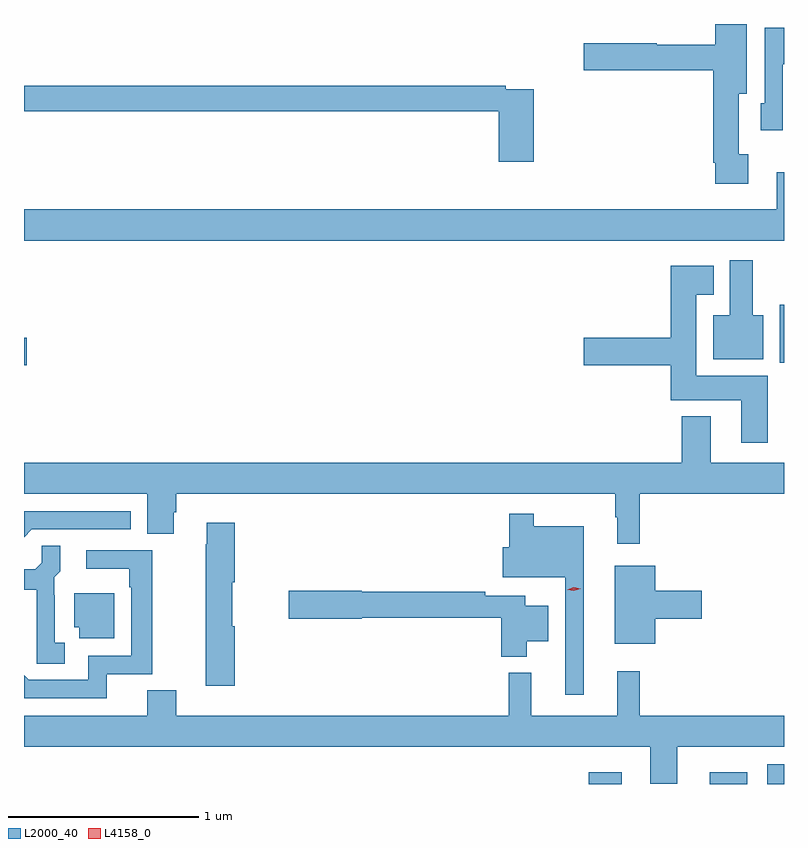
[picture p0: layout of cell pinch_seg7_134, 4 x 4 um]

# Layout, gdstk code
import gdstk
lib = gdstk.Library(unit=1e-6, precision=1e-09)
def R(c, l, rs):  # rectangles x0, y0, x1, y1
    for r in rs: c.add(gdstk.rectangle(r[:2], r[2:], *l))
def P(c, l, *ps):  # polygons
    for p in ps: c.add(gdstk.Polygon(p, *l))
L2000_40 = (2000, 40)
L4158_0 = (4158, 0)

pinch_seg7_134 = lib.new_cell('pinch_seg7_134')
R(pinch_seg7_134, L2000_40, [(1009.184,1037.716,1009.357,1037.779), (1009.821,1037.716,1010.017,1037.779), (1010.124,1037.716,1010.211,1037.82), (1006.211,1039.919,1006.225,1040.066), (1010.189,1039.934,1010.211,1040.239)])
P(pinch_seg7_134, L2000_40, [(1010.023,1041.03),(1009.972,1041.03),(1009.972,1041.35),(1010.014,1041.35),(1010.014,1041.716),(1009.85,1041.716),(1009.85,1041.607),(1009.542,1041.607),(1009.542,1041.615),(1009.158,1041.615),(1009.158,1041.473),(1009.838,1041.473),(1009.838,1040.986),(1009.85,1040.986),(1009.85,1040.874),(1010.023,1040.874)],
  [(1010.205,1041.503),(1010.211,1041.503),(1010.211,1041.696),(1010.109,1041.696),(1010.109,1041.3),(1010.088,1041.3),(1010.088,1041.156),(1010.205,1041.156)],
  [(1008.893,1041.372),(1008.746,1041.372),(1008.746,1041.392),(1006.211,1041.392),(1006.211,1041.256),(1008.71,1041.256),(1008.71,1040.991),(1008.893,1040.991)],
  [(1010.211,1040.935),(1010.174,1040.935),(1010.174,1040.74),(1006.211,1040.74),(1006.211,1040.576),(1010.211,1040.576)],
  [(1010.101,1040.182),(1010.047,1040.182),(1010.047,1040.473),(1009.925,1040.473),(1009.925,1040.182),(1009.838,1040.182),(1009.838,1039.952),(1010.101,1039.952)],
  [(1010.125,1039.864),(1009.75,1039.864),(1009.75,1040.291),(1009.84,1040.291),(1009.84,1040.443),(1009.616,1040.443),(1009.616,1040.066),(1009.158,1040.066),(1009.158,1039.919),(1009.616,1039.919),(1009.616,1039.736),(1009.985,1039.736),(1009.985,1039.512),(1010.125,1039.512)],
  [(1009.451,1039.244),(1010.211,1039.244),(1010.211,1039.408),(1009.825,1039.408),(1009.825,1039.651),(1009.673,1039.651),(1009.673,1039.408),(1006.211,1039.408),(1006.211,1039.244),(1006.859,1039.244),(1006.859,1039.032),(1006.999,1039.032),(1006.999,1039.146),(1007.012,1039.146),(1007.012,1039.244),(1009.323,1039.244),(1009.323,1039.121),(1009.334,1039.121),(1009.334,1038.981),(1009.451,1038.981)],
  [(1006.251,1039.056),(1006.774,1039.056),(1006.774,1039.152),(1006.212,1039.152),(1006.211,1039.151),(1006.211,1039.016)],
  [(1009.156,1039.072),(1008.895,1039.072),(1008.895,1039.138),(1008.766,1039.138),(1008.766,1038.961),(1008.732,1038.961),(1008.732,1038.803),(1009.059,1038.803),(1009.059,1038.186),(1009.156,1038.186)],
  [(1007.321,1038.546),(1007.308,1038.546),(1007.308,1038.777),(1007.321,1038.777),(1007.321,1039.09),(1007.174,1039.09),(1007.174,1038.977),(1007.167,1038.977),(1007.167,1038.234),(1007.321,1038.234)],
  [(1006.426,1038.459),(1006.374,1038.459),(1006.374,1038.71),(1006.371,1038.71),(1006.371,1038.803),(1006.403,1038.835),(1006.403,1038.971),(1006.305,1038.971),(1006.305,1038.88),(1006.271,1038.846),(1006.211,1038.846),(1006.211,1038.738),(1006.278,1038.738),(1006.278,1038.349),(1006.426,1038.349)],
  [(1006.646,1038.294),(1006.885,1038.294),(1006.885,1038.945),(1006.539,1038.945),(1006.539,1038.849),(1006.764,1038.849),(1006.764,1038.752),(1006.776,1038.752),(1006.776,1038.39),(1006.548,1038.39),(1006.548,1038.264),(1006.236,1038.264),(1006.211,1038.289),(1006.211,1038.168),(1006.646,1038.168)],
  [(1009.534,1038.587),(1009.777,1038.587),(1009.777,1038.734),(1009.534,1038.734),(1009.534,1038.865),(1009.319,1038.865),(1009.319,1038.455),(1009.534,1038.455)],
  [(1008.856,1038.467),(1008.97,1038.467),(1008.97,1038.655),(1008.85,1038.655),(1008.85,1038.708),(1008.638,1038.708),(1008.638,1038.728),(1007.988,1038.728),(1007.988,1038.734),(1007.604,1038.734),(1007.604,1038.587),(1007.988,1038.587),(1007.988,1038.592),(1008.722,1038.592),(1008.722,1038.386),(1008.856,1038.386)],
  [(1006.687,1038.721),(1006.475,1038.721),(1006.475,1038.54),(1006.503,1038.54),(1006.503,1038.483),(1006.687,1038.483)],
  [(1009.648,1037.912),(1010.211,1037.912),(1010.211,1038.076),(1009.451,1038.076),(1009.451,1038.31),(1009.334,1038.31),(1009.334,1038.076),(1008.881,1038.076),(1008.881,1038.301),(1008.763,1038.301),(1008.763,1038.076),(1007.012,1038.076),(1007.012,1038.209),(1006.859,1038.209),(1006.859,1038.076),(1006.211,1038.076),(1006.211,1037.912),(1009.508,1037.912),(1009.508,1037.718),(1009.648,1037.718)])
P(pinch_seg7_134, L4158_0, [(1009.105,1038.732),(1009.07,1038.739),(1009.069,1038.739),(1009.07,1038.739),(1009.104,1038.751),(1009.14,1038.744),(1009.14,1038.744),(1009.14,1038.744)])

lib.write_gds('pinch_seg7_134.gds')
